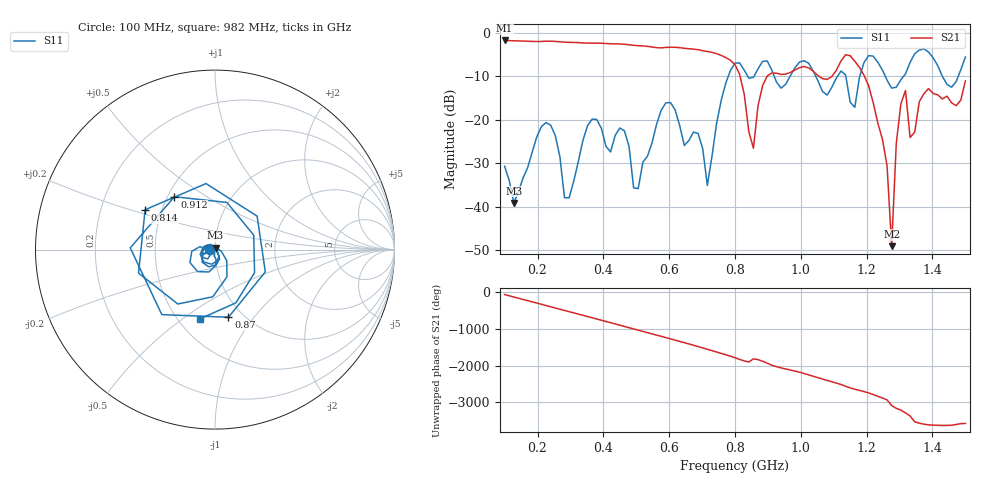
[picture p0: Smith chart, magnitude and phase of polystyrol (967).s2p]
! NanoVNA-App
! Date: 2025-09-25 15:37:24
! Start: 100MHz Stop: 1,5GHz Points: 101
! S-Parameter data: F S11 S21 S12 S22
# Hz S RI R 50
!  Frequency  S11_Real  S11_Imag  S21_Real  S21_Imag  S12_Real  S12_Imag  S22_Real  S22_Imag
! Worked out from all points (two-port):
!   101 points, 100 MHz to 1.5 GHz, reference 50 ohm
!   highest |S21| = -1.80 dB at 100 MHz (marker M1); lowest = -49.1 dB at 1.276 GHz (marker M2)
!   |S21| within 3 dB of the highest: start of sweep to 743.2 MHz
!   lowest |S11| = -39.1 dB at 128 MHz (marker M3), VSWR 1.02, Z = 50.3 + j1.06 ohm
!   |S11| at or under -10 dB: start of sweep to 779.7 MHz; 1.045 GHz to 1.112 GHz (66.58 MHz wide, 6.17 % of centre); 1.256 GHz to 1.313 GHz (56.17 MHz wide, 4.37 % of centre) (the widest 3 of 7)
!   S12 and S22 are empty: the file has one direction only
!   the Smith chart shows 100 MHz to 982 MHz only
!   S11 on the Smith chart (normalised r, x): 100 MHz: 0.94, -0.01; 814 MHz: 0.40, +0.22; 870 MHz: 0.85, -0.76; 912 MHz: 0.54, +0.37; 982 MHz: 0.64, -0.58
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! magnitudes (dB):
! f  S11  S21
! 100 MHz  -30.7  -1.8
! 128 MHz  -39.1  -1.9
! 212 MHz  -21.6  -2.0
! 282 MHz  -37.9  -2.2
! 338 MHz  -24.7  -2.4
! 506 MHz  -35.8  -3.0
! 576 MHz  -17.8  -3.5
! 716 MHz  -35.1  -4.3
! 800 MHz  -7.0  -7.3
! 814 MHz  -7.0  -9.6
! 856 MHz  -10.3  -26.6
! 870 MHz  -8.3  -16.8
! 912 MHz  -8.6  -9.3
! 982 MHz  -8.1  -8.6
! 1.038 GHz  -8.9  -8.9
! 1.192 GHz  -6.9  -9.8
! 1.262 GHz  -10.9  -30.6
! 1.276 GHz  -12.7  -49.1
! 1.29 GHz  -12.5  -25.5
! 1.318 GHz  -9.5  -13.3
! 1.332 GHz  -6.8  -24.1
! 1.5 GHz  -5.6  -11.1
